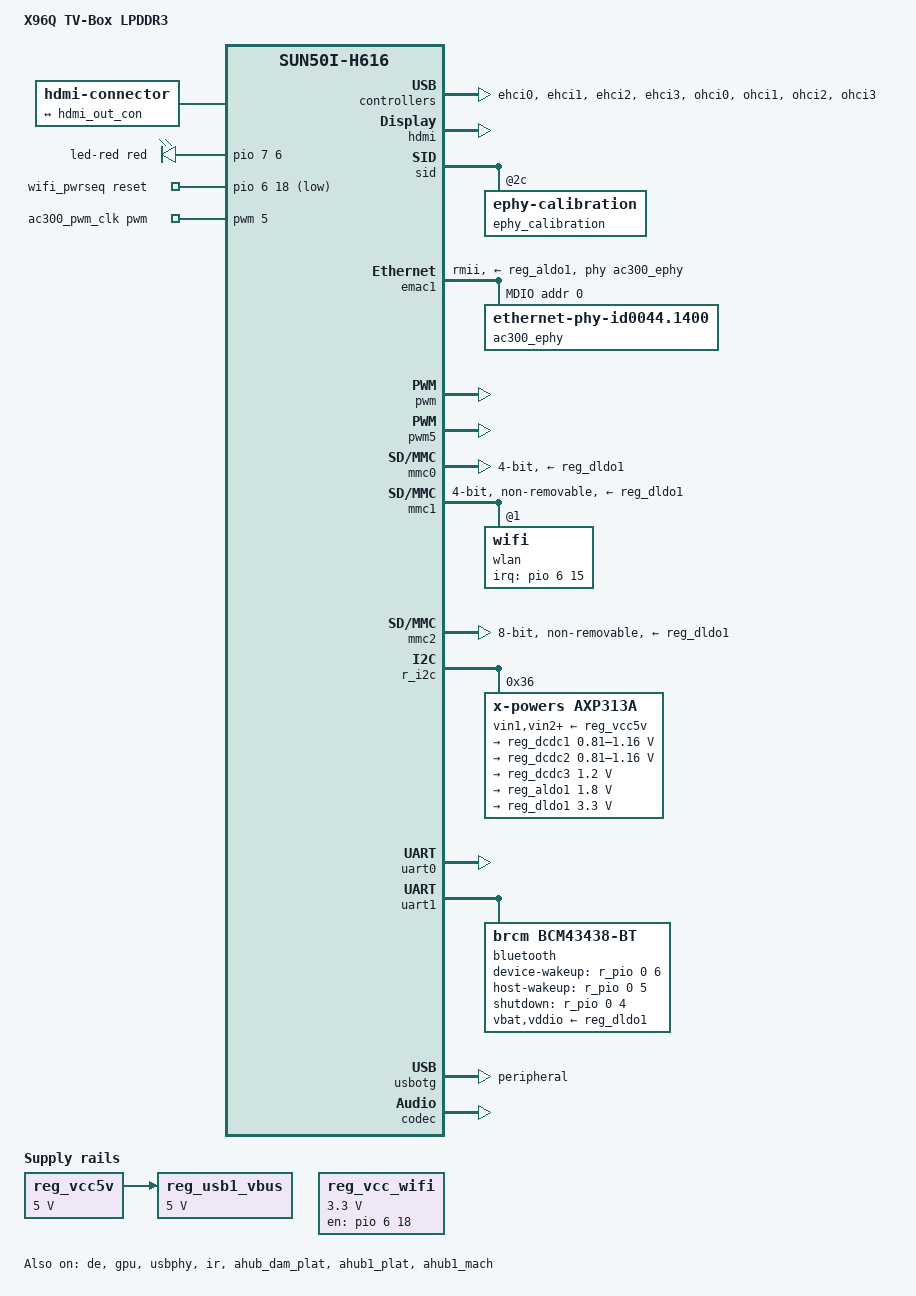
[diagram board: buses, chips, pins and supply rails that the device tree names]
// SPDX-License-Identifier: (GPL-2.0+ or MIT)
/*
 * Author: piotr.oniszczuk@gmail.com
 */

/dts-v1/;

#include "sun50i-h616.dtsi"
#include "sun50i-h313-cpu-opp.dtsi"
#include <dt-bindings/gpio/gpio.h>
#include <dt-bindings/interrupt-controller/arm-gic.h>
#include <dt-bindings/leds/common.h>

/ {
	model = "X96Q TV-Box LPDDR3";
	compatible = "hechuang,x96-q", "allwinner,sun50i-h616";

	aliases {
		mmc0 = &mmc0;
		mmc2 = &mmc2;
		ethernet0 = &emac1;
		ethernet1 = &wlan;
		serial0 = &uart0;
	};

	chosen {
		stdout-path = "serial0:115200n8";
	};

	connector {
		compatible = "hdmi-connector";
		type = "d";

		port {
			hdmi_con_in: endpoint {
				remote-endpoint = <&hdmi_out_con>;
			};
		};
	};

	leds {
		compatible = "gpio-leds";

		led-red {
			function = LED_FUNCTION_DISK_ACTIVITY;
			color = <LED_COLOR_ID_RED>;
			gpios = <&pio 7 6 GPIO_ACTIVE_HIGH>; /* PH6 */
			linux,default-trigger = "mmc0";
		};
	};

	reg_vcc5v: vcc5v {
		/* board wide 5V supply directly from the USB-C socket */
		compatible = "regulator-fixed";
		regulator-name = "vcc-5v";
		regulator-min-microvolt = <5000000>;
		regulator-max-microvolt = <5000000>;
		regulator-always-on;
	};

	reg_usb1_vbus: usb1-vbus {
		compatible = "regulator-fixed";
		regulator-name = "usb1-vbus";
		regulator-min-microvolt = <5000000>;
		regulator-max-microvolt = <5000000>;
		vin-supply = <&reg_vcc5v>;
		enable-active-high;
		/* gpio = <&pio 2 16 GPIO_ACTIVE_HIGH>; PC16 */
		status = "okay";
	};

	reg_vcc_wifi: reg_vcc_wifi {
		compatible = "regulator-fixed";
		regulator-name = "vcc-wifi";
		regulator-min-microvolt = <3300000>;
		regulator-max-microvolt = <3300000>;
		gpio = <&pio 6 18 GPIO_ACTIVE_HIGH>; /* PG18 WL_REG_ON */
		regulator-always-on;
		enable-active-high;
		status = "okay";
	};

	wifi_pwrseq: wifi-pwrseq {
		compatible = "mmc-pwrseq-simple";
		clocks = <&rtc 1>;
		clock-names = "osc32k-out";
		reset-gpios = <&pio 6 18 GPIO_ACTIVE_LOW>; /* PG18 */
		post-power-on-delay-ms = <200>;
	};

	ac300_pwm_clk: ac300-clk {
		compatible = "pwm-clock";
		#clock-cells = <0>;
		/* 500ns period -> 2MHz */
		pwms = <&pwm 5 500 0>;
		clock-frequency = <2000000>;
		status = "okay";
	};
};

&cpu0 {
	cpu-supply = <&reg_dcdc2>;
	status = "okay";
};

&de {
	status = "okay";
};

&ehci0 {
	status = "okay";
};

&ehci1 {
	status = "okay";
};

&ehci2 {
	status = "okay";
};

&ehci3 {
	status = "okay";
};

&hdmi {
	hvcc-supply = <&reg_aldo1>;
	status = "okay";
};

&hdmi_out {
	hdmi_out_con: endpoint {
		remote-endpoint = <&hdmi_con_in>;
	};
};

&sid {
	ephy_calibration: ephy-calibration@2c {
		reg = <0x2c 0x2>;
	};
};

&gpu {
	mali-supply = <&reg_dcdc1>;
	status = "okay";
};

&emac1 {
	compatible = "allwinner,sun50i-h616-internal-emac";
	pinctrl-names = "default";
	pinctrl-0 = <&rmii_pins>;
	phy-mode = "rmii";
	phy-handle = <&ac300_ephy>;
	phy-supply = <&reg_aldo1>;
	allwinner,rx-delay-ps = <3100>;
	allwinner,tx-delay-ps = <700>;
	status = "okay";

	mdio-mux {
		compatible = "allwinner,sun8i-h3-mdio-mux";
		#address-cells = <1>;
		#size-cells = <0>;
		mdio-parent-bus = <&mdio1>;

		internal_mdio: mdio@1 {
			compatible = "allwinner,sun8i-h3-mdio-internal";
			reg = <1>;
			#address-cells = <1>;
			#size-cells = <0>;

			ac300_ephy: ethernet-phy@0 {
				compatible = "ethernet-phy-id0044.1400",
					     "allwinner,sun50i-h618-ac300-ephy",
					     "ethernet-phy-ieee802.3-c22";
				reg = <0>;
				clocks = <&ccu CLK_EMAC_25M>, <&ac300_pwm_clk>;
				clock-names = "ephy", "pwm";
				nvmem-cells = <&ephy_calibration>;
				nvmem-cell-names = "calibration";
				status = "okay";
			};
		};
	};
};

&mdio1 {
	compatible = "snps,dwmac-mdio";
};

&pwm {
	status = "okay";
};

&pwm5 {
	pinctrl-names = "default";
	pinctrl-0 = <&pwm5_pin>;
	clk_bypass_output = <0x1>;
	status = "okay";
};

&mmc0 {
	vmmc-supply = <&reg_dldo1>;
	broken-cd;
	bus-width = <4>;
	status = "okay";
};

&mmc1 {
	vmmc-supply = <&reg_dldo1>;
	vqmmc-supply = <&reg_vcc_wifi>;
	mmc-pwrseq = <&wifi_pwrseq>;
	bus-width = <4>;
	non-removable;
	status = "okay";

	wlan: wifi@1 {
		reg = <1>;
		interrupt-parent = <&pio>;
		interrupts = <6 15 IRQ_TYPE_EDGE_RISING>; /* PG15 WL_HOSTWAKE*/
		interrupt-names = "host-wake";
		local-mac-address = [dc 44 6d c0 ff 02];
	};
};

&mmc2 {
	vmmc-supply = <&reg_dldo1>;
	bus-width = <8>;
	non-removable;
	cap-mmc-hw-reset;
	status = "okay";
};

&ohci0 {
	status = "okay";
};

&ohci1 {
	status = "okay";
};

&ohci2 {
	status = "okay";
};

&ohci3 {
	status = "okay";
};

&r_i2c {
	status = "okay";

	axp313a: pmic@36 {
		compatible = "x-powers,axp313a";
		reg = <0x36>;
		wakeup-source;
		vin1-supply = <&reg_vcc5v>;
		vin2-supply = <&reg_vcc5v>;
		vin3-supply = <&reg_vcc5v>;

		regulators {
			reg_dcdc1: dcdc1 {
				regulator-always-on;
				regulator-min-microvolt = <810000>;
				regulator-max-microvolt = <1160000>;
				regulator-name = "vdd-gpu";
			};

			reg_dcdc2: dcdc2 {
				regulator-always-on;
				regulator-min-microvolt = <810000>;
				regulator-max-microvolt = <1160000>;
				regulator-name = "vdd-cpu";
			};

			reg_dcdc3: dcdc3 {
				regulator-always-on;
				regulator-min-microvolt = <1200000>;
				regulator-max-microvolt = <1200000>;
				regulator-name = "vdd-dram";
			};

			reg_aldo1: aldo1 {
				regulator-always-on;
				regulator-min-microvolt = <1800000>;
				regulator-max-microvolt = <1800000>;
				regulator-name = "vcc1v8";
			};

			reg_dldo1: dldo1 {
				regulator-always-on;
				regulator-min-microvolt = <3300000>;
				regulator-max-microvolt = <3300000>;
				regulator-name = "vcc3v3";
			};
		};
	};
};

&uart0 {
	pinctrl-names = "default";
	pinctrl-0 = <&uart0_ph_pins>;
	status = "okay";
};

&uart1 {
	pinctrl-names = "default";
	pinctrl-0 = <&uart1_pins>, <&uart1_rts_cts_pins>;
	uart-has-rtscts;
	status = "okay";

	bluetooth {
		compatible = "brcm,bcm43438-bt";
		clocks = <&rtc 1>;
		clock-names = "lpo";
		vbat-supply = <&reg_dldo1>;
		vddio-supply = <&reg_dldo1>;
		device-wakeup-gpios = <&r_pio 0 6 GPIO_ACTIVE_HIGH>; /* PL6 */
		host-wakeup-gpios = <&r_pio 0 5 GPIO_ACTIVE_HIGH>; /* PL5 */
		shutdown-gpios = <&r_pio 0 4 GPIO_ACTIVE_HIGH>; /* PL4 */
	};
};

&usbotg {
	dr_mode = "peripheral";
	status = "okay";
};

&usbphy {
	usb1_vbus-supply = <&reg_usb1_vbus>;
	status = "okay";
};

&ir {
	linux,rc-map-name = "rc-beelink-gs1";
	status = "okay";
};

&codec {
	allwinner,audio-routing =
	        "Line Out", "LINEOUT";
	status = "okay";
};

&ahub_dam_plat {
	status = "okay";
};

&ahub1_plat {
	status = "okay";
};

&ahub1_mach {
	status = "okay";
};

